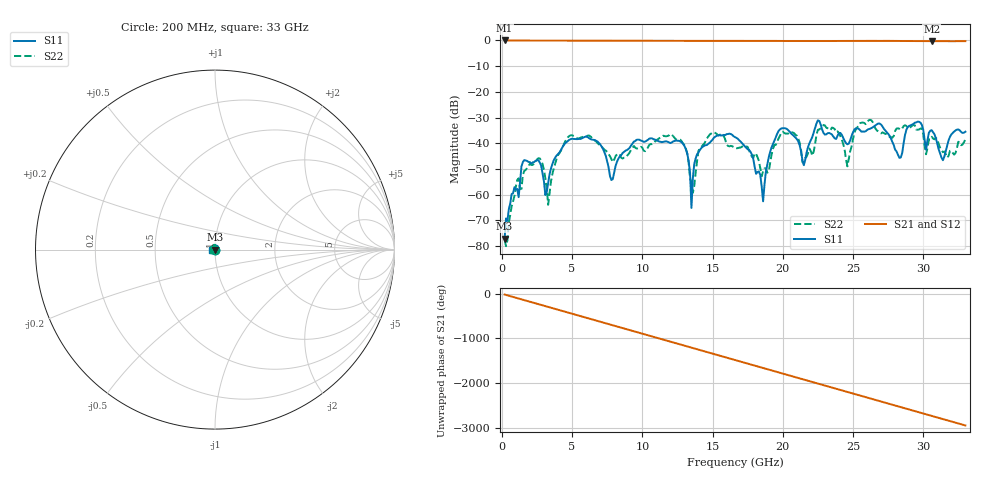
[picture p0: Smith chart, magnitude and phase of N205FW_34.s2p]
# GHZ S RI R 50
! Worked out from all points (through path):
!   329 points, 200 MHz to 33 GHz, reference 50 ohm
!   highest |S21| = -0.02 dB at 200 MHz (marker M1); lowest = -0.3 dB at 30.6 GHz (marker M2)
!   group delay of S21, straight-line fit = 248 ps
!   lowest |S11| = -77.1 dB at 200 MHz (marker M3), VSWR 1.00, Z = 50 - j0.00222 ohm
!   |S11| at or under -10 dB: start of sweep to end of sweep
!   |S22| runs from -80.1 to -30.9 dB; largest |S21 - S12| = 0.0022
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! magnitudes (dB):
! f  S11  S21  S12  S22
! 200 MHz  -77.1  0.0  0.0  -77.6
! 1.6 GHz  -46.6  -0.1  -0.1  -50.8
! 2.7 GHz  -47.5  -0.1  -0.1  -45.9
! 3.3 GHz  -55.4  -0.1  -0.1  -64.0
! 4 GHz  -44.2  -0.1  -0.1  -44.6
! 5.7 GHz  -38.1  -0.1  -0.1  -37.7
! 7.8 GHz  -54.3  -0.1  -0.1  -46.2
! 11.2 GHz  -39.4  -0.2  -0.2  -38.1
! 13 GHz  -41.0  -0.2  -0.2  -40.8
! 13.5 GHz  -65.2  -0.2  -0.2  -54.8
! 13.9 GHz  -44.3  -0.2  -0.2  -46.9
! 16.6 GHz  -37.6  -0.1  -0.1  -41.9
! 18.6 GHz  -62.6  -0.2  -0.2  -50.9
! 19.7 GHz  -35.3  -0.2  -0.2  -38.2
! 21.5 GHz  -48.6  -0.2  -0.2  -47.9
! 22.1 GHz  -37.6  -0.3  -0.2  -44.8
! 22.9 GHz  -36.0  -0.2  -0.2  -32.9
! 24.6 GHz  -40.4  -0.2  -0.2  -49.0
! 27.6 GHz  -37.1  -0.2  -0.2  -37.5
! 30.6 GHz  -34.9  -0.3  -0.3  -37.5
! 31.4 GHz  -46.6  -0.3  -0.3  -43.5
! 33 GHz  -35.5  -0.3  -0.3  -38.5
